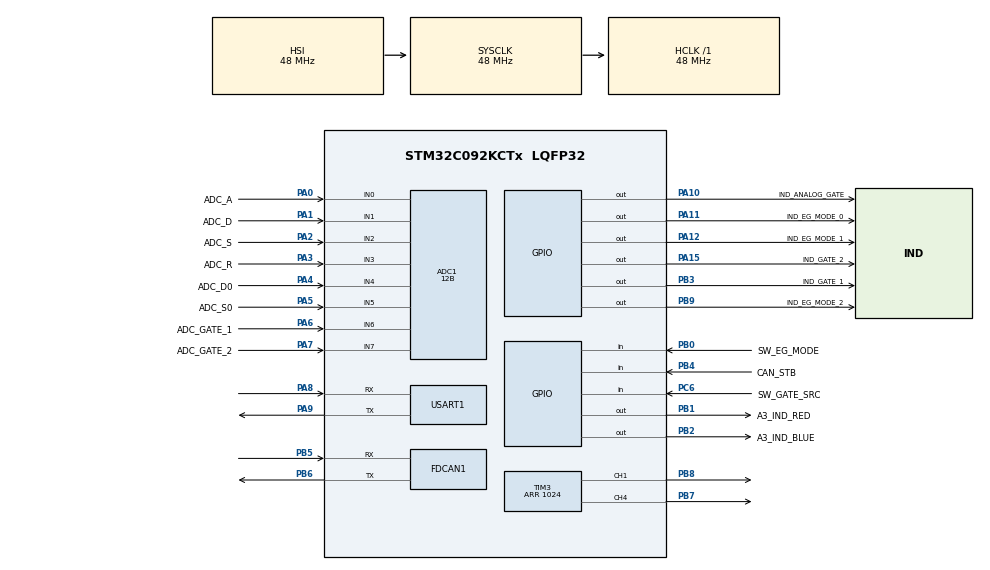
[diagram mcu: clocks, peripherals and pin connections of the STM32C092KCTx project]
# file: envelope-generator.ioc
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ADC1.Channel-0\#ChannelRegularConversion=ADC_CHANNEL_0
ADC1.ClockPrescaler=ADC_CLOCK_ASYNC_DIV32
ADC1.ContinuousConvMode=DISABLE
ADC1.DMAContinuousRequests=ENABLE
ADC1.DataAlign=ADC_DATAALIGN_LEFT
ADC1.ExternalTrigConv=ADC_SOFTWARE_START
ADC1.NbrOfConversionFlag=1
ADC1.Rank-0\#ChannelRegularConversion=1
ADC1.Resolution=ADC_RESOLUTION_12B
ADC1.SamplingTime-0\#ChannelRegularConversion=ADC_SAMPLINGTIME_COMMON_1
ADC1.SamplingTimeCommon1=ADC_SAMPLETIME_160CYCLES_5
ADC1.SamplingTimeCommon2=ADC_SAMPLETIME_160CYCLES_5
ADC1.SelectedChannel=ADC_CHANNEL_0|ADC_CHANNEL_1|ADC_CHANNEL_2|ADC_CHANNEL_3|ADC_CHANNEL_4|ADC_CHANNEL_5|ADC_CHANNEL_6|ADC_CHANNEL_7|ADC_CHANNEL_TEMPSENSOR
ADC1.Sequencer=FULLY_CONFIGURABLE
ADC1.master=1
Dma.ADC1.0.Direction=DMA_PERIPH_TO_MEMORY
Dma.ADC1.0.EventEnable=DISABLE
Dma.ADC1.0.Instance=DMA1_Channel1
Dma.ADC1.0.MemDataAlignment=DMA_MDATAALIGN_HALFWORD
Dma.ADC1.0.MemInc=DMA_MINC_ENABLE
Dma.ADC1.0.Mode=DMA_CIRCULAR
Dma.ADC1.0.PeriphDataAlignment=DMA_PDATAALIGN_HALFWORD
Dma.ADC1.0.PeriphInc=DMA_PINC_DISABLE
Dma.ADC1.0.Polarity=HAL_DMAMUX_REQ_GEN_RISING
Dma.ADC1.0.Priority=DMA_PRIORITY_LOW
Dma.ADC1.0.RequestNumber=1
Dma.ADC1.0.SignalID=NONE
Dma.ADC1.0.SyncEnable=DISABLE
Dma.ADC1.0.SyncPolarity=HAL_DMAMUX_SYNC_NO_EVENT
Dma.ADC1.0.SyncRequestNumber=1
Dma.ADC1.0.SyncSignalID=NONE
Dma.Request0=ADC1
FDCAN1.AutoRetransmission=ENABLE
FDCAN1.CalculateBaudRateNominal=1000000
FDCAN1.CalculateTimeBitNominal=1000
FDCAN1.CalculateTimeQuantumNominal=20.833333333333332
FDCAN1.FrameFormat=FDCAN_FRAME_CLASSIC
FDCAN1.NominalPrescaler=1
FDCAN1.NominalSyncJumpWidth=2
FDCAN1.NominalTimeSeg1=30
FDCAN1.NominalTimeSeg2=17
Mcu.Family=STM32C0
Mcu.Name=STM32C092KCTx
Mcu.Package=LQFP32
NVIC.ADC1_IRQn=true\:0\:0\:false\:false\:true\:true\:true\:true
NVIC.DMA1_Channel1_IRQn=true\:0\:0\:false\:false\:true\:false\:true\:true
NVIC.FDCAN1_IT0_IRQn=true\:0\:0\:false\:false\:true\:true\:true\:true
NVIC.TIM3_IRQn=true\:0\:0\:false\:false\:true\:true\:true\:true
PA0.GPIO_Label=ADC_A
PA0.Mode=IN0
PA0.Signal=ADC1_IN0
PA1.GPIO_Label=ADC_D
PA1.Mode=IN1
PA1.Signal=ADC1_IN1
PA10.GPIO_Label=IND_ANALOG_GATE
PA10.Signal=GPIO_Output
PA11\ [PA9].GPIO_Label=IND_EG_MODE_0
PA11\ [PA9].Signal=GPIO_Output
PA12\ [PA10].GPIO_Label=IND_EG_MODE_1
PA12\ [PA10].Signal=GPIO_Output
PA13.Mode=Serial_Wire
PA13.Signal=DEBUG_SWDIO
PA14-BOOT0.Mode=Serial_Wire
PA14-BOOT0.Signal=DEBUG_SWCLK
PA15.GPIO_Label=IND_GATE_2
PA15.Signal=GPIO_Output
PA2.GPIO_Label=ADC_S
PA2.Mode=IN2
PA2.Signal=ADC1_IN2
PA3.GPIO_Label=ADC_R
PA3.Mode=IN3
PA3.Signal=ADC1_IN3
PA4.GPIO_Label=ADC_D0
PA4.Mode=IN4
PA4.Signal=ADC1_IN4
PA5.GPIO_Label=ADC_S0
PA5.Mode=IN5
PA5.Signal=ADC1_IN5
PA6.GPIO_Label=ADC_GATE_1
PA6.Mode=IN6
PA6.Signal=ADC1_IN6
PA7.GPIO_Label=ADC_GATE_2
PA7.Mode=IN7
PA7.Signal=ADC1_IN7
PA8.Mode=Asynchronous
PA8.Signal=USART1_RX
PA9.Mode=Asynchronous
PA9.Signal=USART1_TX
PB0.GPIO_Label=SW_EG_MODE
PB0.GPIO_PuPd=GPIO_PULLUP
PB0.Signal=GPIO_Input
PB1.GPIO_Label=A3_IND_RED
PB1.Signal=GPIO_Output
PB2.GPIO_Label=A3_IND_BLUE
PB2.Signal=GPIO_Output
PB3.GPIO_Label=IND_GATE_1
PB3.Signal=GPIO_Output
PB4.GPIO_Label=CAN_STB
PB4.Signal=GPIO_Input
PB5.Mode=FDCAN_Activate
PB5.Signal=FDCAN1_RX
PB6.GPIO_FM6=__NULL
PB6.GPIO_Speed=GPIO_SPEED_FREQ_VERY_HIGH
PB6.Mode=FDCAN_Activate
PB6.Signal=FDCAN1_TX
PB7.Signal=S_TIM3_CH4
PB8.Signal=S_TIM3_CH1
PB9.GPIO_Label=IND_EG_MODE_2
PB9.Signal=GPIO_Output
PC14-OSCX_IN(PC14).Mode=HSE-External-Oscillator
PC14-OSCX_IN(PC14).Signal=RCC_OSCX_IN
PC15-OSCX_OUT(PC15).Mode=HSE-External-Oscillator
PC15-OSCX_OUT(PC15).Signal=RCC_OSCX_OUT
PC6.GPIO_Label=SW_GATE_SRC
PC6.GPIO_PuPd=GPIO_PULLUP
PC6.Signal=GPIO_Input
ProjectManager.HeapSize=0x200
ProjectManager.StackSize=0x400
ProjectManager.TargetToolchain=STM32CubeIDE
RCC.ADCFreq_Value=48000000
RCC.AHBFreq_Value=48000000
RCC.CortexFreq_Value=48000000
RCC.EXTERNAL_CLOCK_VALUE=12288000
RCC.HCLKFreq_Value=48000000
RCC.HSE_VALUE=48000000
RCC.HSISYSCLKDivider=RCC_HSI_DIV1
RCC.HSI_VALUE=48000000
RCC.LSE_VALUE=32768
RCC.SYSCLKFreq_VALUE=48000000
SH.S_TIM3_CH1.0=TIM3_CH1,PWM Generation1 CH1
SH.S_TIM3_CH4.0=TIM3_CH4,PWM Generation4 CH4
TIM3.Channel-PWM\ Generation1\ CH1=TIM_CHANNEL_1
TIM3.Channel-PWM\ Generation4\ CH4=TIM_CHANNEL_4
TIM3.Period=1024
USART1.VirtualMode-Asynchronous=VM_ASYNC
VP_ADC1_TempSens_Input.Mode=IN-TempSens
VP_FLASH_SIG_Activate_FlashIP.Mode=Activate_FlashIP
VP_TIM3_VS_ClockSourceINT.Mode=Internal
board=custom

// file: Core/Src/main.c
/* USER CODE BEGIN Header */
/**
  ******************************************************************************
  * @file           : main.c
  * @brief          : Main program body
  ******************************************************************************
  * @attention
  *
  * Copyright (c) 2025 STMicroelectronics.
  * All rights reserved.
  *
  * This software is licensed under terms that can be found in the LICENSE file
  * in the root directory of this software component.
  * If no LICENSE file comes with this software, it is provided AS-IS.
  *
  ******************************************************************************
  */
/* USER CODE END Header */
#include "main.h"

/* USER CODE BEGIN Includes */
#include <string.h>

#include "analog3/stm32impl.h"
#include "analog3/storage.h"
#include "analog3/tasks.h"
#include "envelope_generator.h"
/* USER CODE END Includes */

/* USER CODE BEGIN PD */
#define ADC_INDEX_A  0
#define ADC_INDEX_D  1
#define ADC_INDEX_S  2
#define ADC_INDEX_R  3
#define ADC_INDEX_D0 4
#define ADC_INDEX_S0 5
#define ADC_INDEX_G1 6
#define ADC_INDEX_G2 7
/* USER CODE END PD */

ADC_HandleTypeDef hadc1;
DMA_HandleTypeDef hdma_adc1;

FDCAN_HandleTypeDef hfdcan1;

TIM_HandleTypeDef htim3;

UART_HandleTypeDef huart1;

/* USER CODE BEGIN PV */
switch_state_t gate_src_sw_state;
switch_state_t eg_mode_sw_state;

volatile uint32_t events = 0;
enum Event {
  EVENT_CAN_RX = 0x1,
};

uint16_t adc_value;
uint8_t adc_channel_index = 0;
const uint32_t adc_channels[] = {
  ADC_CHANNEL_0, // PA0, A
  ADC_CHANNEL_1, // PA1, D
  ADC_CHANNEL_2, // PA2, S
  ADC_CHANNEL_3, // PA3, R
  ADC_CHANNEL_4, // PA4, D0
  ADC_CHANNEL_5, // PA5, S0
  ADC_CHANNEL_6, // PA6, Gate 1
  ADC_CHANNEL_7, // PA6, Gate 2
};

uint16_t adc_results[8];  // Stores the 4 channel readings
/* USER CODE END PV */

void SystemClock_Config(void);
static void MX_GPIO_Init(void);
static void MX_DMA_Init(void);
static void MX_ADC1_Init(void);
static void MX_FDCAN1_Init(void);
static void MX_USART1_UART_Init(void);
static void MX_FLASH_Init(void);
static void MX_TIM3_Init(void);

/* USER CODE BEGIN 0 */
void ReceiveCanMessages(FDCAN_HandleTypeDef *hfdcan)
{
  if ((events & EVENT_CAN_RX) == 0) {
    return;
  }
  __disable_irq();
  events &= ~EVENT_CAN_RX;
  __enable_irq();
  FDCAN_RxHeaderTypeDef dummy_header;
  uint8_t dummy_data[8];
  FDCAN_RxHeaderTypeDef *rx_header;
  uint8_t *rx_data;
  while (HAL_FDCAN_GetRxFifoFillLevel(hfdcan, FDCAN_RX_FIFO0) > 0) {
    if (q_full) {
      rx_header = &dummy_header;
      rx_data = dummy_data;
    } else {
      rx_header = &message_queue[q_head].header;
      rx_data = message_queue[q_head].data;
    }
    hfdcan->ErrorCode = HAL_FDCAN_ERROR_NONE;
    if (HAL_FDCAN_GetRxMessage(hfdcan, FDCAN_RX_FIFO0, rx_header, rx_data) != HAL_OK) {
      HandleError("Failed to receive CAN message; error=%lu", hfdcan->ErrorCode);
    } else {
      if (!q_full) {
        q_head = (q_head + 1) % MESSAGE_QUEUE_SIZE;
        q_full = q_head == q_tail;
      }
    }
  }
}

void HandleUserSwitchPressed(const switch_state_t *sw_state) {
  if (!sw_state->prev_status) {
    TogglePhysicalGateInput();
  }
}

void HandleEgModeSwitchPressed(const switch_state_t *sw_state) {
  if (!sw_state->prev_status) {
    SwitchEnvelopeGenerationMode();
  }
}
/* USER CODE END 0 */

int main(void)
{

  /* MCU Configuration--------------------------------------------------------*/

  /* Reset of all peripherals, Initializes the Flash interface and the Systick. */
  HAL_Init();

  /* Configure the system clock */
  SystemClock_Config();

  /* Initialize all configured peripherals */
  MX_GPIO_Init();
  MX_DMA_Init();
  MX_ADC1_Init();
  MX_FDCAN1_Init();
  MX_USART1_UART_Init();
  MX_FLASH_Init();
  MX_TIM3_Init();
  /* USER CODE BEGIN 2 */
  InitializeStorage();
  InitializeSwitchState(&gate_src_sw_state, SW_GATE_SRC_GPIO_Port, SW_GATE_SRC_Pin,
                        HandleUserSwitchPressed);
  InitializeSwitchState(&eg_mode_sw_state, SW_EG_MODE_GPIO_Port, SW_EG_MODE_Pin,
                        HandleEgModeSwitchPressed);
  HAL_ADCEx_Calibration_Start(&hadc1);

  __HAL_TIM_SET_COMPARE(&htim3, TIM_CHANNEL_1, 0);
  __HAL_TIM_SET_COMPARE(&htim3, TIM_CHANNEL_4, 0);
  HAL_TIM_PWM_Start(&htim3, TIM_CHANNEL_1);
  HAL_TIM_PWM_Start(&htim3, TIM_CHANNEL_4);

  InitializeAnalog3();
  InitializeEnvelopeGenerator();

  HAL_Delay(10);
  put_string("\r\nAnalog3 Envelope Generator\r\n");

  HAL_TIM_Base_Start_IT(&htim3);

  HAL_Delay(20);

  // The module is ready to run. Signing into the A3 network.
  SignIn();
  /* USER CODE END 2 */

  /* Infinite loop */
  while (1)
  {

    /* USER CODE BEGIN 3 */
    UpdateEnvelopeGenerator();
    ReceiveCanMessages(&hfdcan1);
    if (q_head != q_tail || q_full) {
      stm32_can_message_t *message = &message_queue[q_tail];
      HandleCanRxMessage(message);
      __disable_irq();
      q_tail = (q_tail + 1) % MESSAGE_QUEUE_SIZE;
      q_full = 0;
      __enable_irq();
    }
    CheckForTask();
    CheckSwitch(&gate_src_sw_state);
    CheckSwitch(&eg_mode_sw_state);
  }
  /* USER CODE END 3 */
}

void SystemClock_Config(void)
{
  RCC_OscInitTypeDef RCC_OscInitStruct = {0};
  RCC_ClkInitTypeDef RCC_ClkInitStruct = {0};

  __HAL_FLASH_SET_LATENCY(FLASH_LATENCY_1);

  /** Initializes the RCC Oscillators according to the specified parameters
  * in the RCC_OscInitTypeDef structure.
  */
  RCC_OscInitStruct.OscillatorType = RCC_OSCILLATORTYPE_HSI;
  RCC_OscInitStruct.HSIState = RCC_HSI_ON;
  RCC_OscInitStruct.HSIDiv = RCC_HSI_DIV1;
  RCC_OscInitStruct.HSICalibrationValue = RCC_HSICALIBRATION_DEFAULT;
  if (HAL_RCC_OscConfig(&RCC_OscInitStruct) != HAL_OK)
  {
    Error_Handler();
  }

  /** Initializes the CPU, AHB and APB buses clocks
  */
  RCC_ClkInitStruct.ClockType = RCC_CLOCKTYPE_HCLK|RCC_CLOCKTYPE_SYSCLK
                              |RCC_CLOCKTYPE_PCLK1;
  RCC_ClkInitStruct.SYSCLKSource = RCC_SYSCLKSOURCE_HSI;
  RCC_ClkInitStruct.SYSCLKDivider = RCC_SYSCLK_DIV1;
  RCC_ClkInitStruct.AHBCLKDivider = RCC_HCLK_DIV1;
  RCC_ClkInitStruct.APB1CLKDivider = RCC_APB1_DIV1;

  if (HAL_RCC_ClockConfig(&RCC_ClkInitStruct, FLASH_LATENCY_1) != HAL_OK)
  {
    Error_Handler();
  }
}

static void MX_ADC1_Init(void)
{

  ADC_ChannelConfTypeDef sConfig = {0};

  /** Configure the global features of the ADC (Clock, Resolution, Data Alignment and number of conversion)
  */
  hadc1.Instance = ADC1;
  hadc1.Init.ClockPrescaler = ADC_CLOCK_ASYNC_DIV32;
  hadc1.Init.Resolution = ADC_RESOLUTION_12B;
  hadc1.Init.DataAlign = ADC_DATAALIGN_LEFT;
  hadc1.Init.ScanConvMode = ADC_SCAN_DISABLE;
  hadc1.Init.EOCSelection = ADC_EOC_SINGLE_CONV;
  hadc1.Init.LowPowerAutoWait = DISABLE;
  hadc1.Init.LowPowerAutoPowerOff = DISABLE;
  hadc1.Init.ContinuousConvMode = DISABLE;
  hadc1.Init.NbrOfConversion = 1;
  hadc1.Init.DiscontinuousConvMode = DISABLE;
  hadc1.Init.ExternalTrigConv = ADC_SOFTWARE_START;
  hadc1.Init.ExternalTrigConvEdge = ADC_EXTERNALTRIGCONVEDGE_NONE;
  hadc1.Init.DMAContinuousRequests = ENABLE;
  hadc1.Init.Overrun = ADC_OVR_DATA_PRESERVED;
  hadc1.Init.SamplingTimeCommon1 = ADC_SAMPLETIME_160CYCLES_5;
  hadc1.Init.SamplingTimeCommon2 = ADC_SAMPLETIME_160CYCLES_5;
  hadc1.Init.OversamplingMode = DISABLE;
  hadc1.Init.TriggerFrequencyMode = ADC_TRIGGER_FREQ_HIGH;
  if (HAL_ADC_Init(&hadc1) != HAL_OK)
  {
    Error_Handler();
  }

  /** Configure Regular Channel
  */
  sConfig.Channel = ADC_CHANNEL_0;
  sConfig.Rank = ADC_REGULAR_RANK_1;
  sConfig.SamplingTime = ADC_SAMPLINGTIME_COMMON_1;
  if (HAL_ADC_ConfigChannel(&hadc1, &sConfig) != HAL_OK)
  {
    Error_Handler();
  }

}

static void MX_FDCAN1_Init(void)
{

  hfdcan1.Instance = FDCAN1;
  hfdcan1.Init.ClockDivider = FDCAN_CLOCK_DIV1;
  hfdcan1.Init.FrameFormat = FDCAN_FRAME_CLASSIC;
  hfdcan1.Init.Mode = FDCAN_MODE_NORMAL;
  hfdcan1.Init.AutoRetransmission = ENABLE;
  hfdcan1.Init.TransmitPause = DISABLE;
  hfdcan1.Init.ProtocolException = DISABLE;
  hfdcan1.Init.NominalPrescaler = 1;
  hfdcan1.Init.NominalSyncJumpWidth = 2;
  hfdcan1.Init.NominalTimeSeg1 = 30;
  hfdcan1.Init.NominalTimeSeg2 = 17;
  hfdcan1.Init.DataPrescaler = 1;
  hfdcan1.Init.DataSyncJumpWidth = 1;
  hfdcan1.Init.DataTimeSeg1 = 1;
  hfdcan1.Init.DataTimeSeg2 = 1;
  hfdcan1.Init.StdFiltersNbr = 0;
  hfdcan1.Init.ExtFiltersNbr = 0;
  hfdcan1.Init.TxFifoQueueMode = FDCAN_TX_FIFO_OPERATION;
  if (HAL_FDCAN_Init(&hfdcan1) != HAL_OK)
  {
    Error_Handler();
  }
  /* USER CODE BEGIN FDCAN1_Init 2 */
  if (HAL_FDCAN_ConfigGlobalFilter(
        &hfdcan1, FDCAN_ACCEPT_IN_RX_FIFO0, FDCAN_ACCEPT_IN_RX_FIFO0,
        FDCAN_FILTER_REMOTE, FDCAN_FILTER_REMOTE) != HAL_OK) {
    Error_Handler();
  }

  // Start FDCAN
  if (HAL_FDCAN_Start(&hfdcan1) != HAL_OK) {
    Error_Handler();
  }

  // Activate reception notification
  HAL_FDCAN_ActivateNotification(&hfdcan1, FDCAN_IT_RX_FIFO0_NEW_MESSAGE, 0);

  // Enable the transceiver
  HAL_GPIO_WritePin(CAN_STB_GPIO_Port, CAN_STB_Pin, GPIO_PIN_RESET);
  // CAN_STB pin is input initially, switch it to output
  CAN_STB_GPIO_Port->MODER &= ~((CAN_STB_Pin * CAN_STB_Pin) << 1);
  CAN_STB_GPIO_Port->MODER |= CAN_STB_Pin * CAN_STB_Pin;
  /* USER CODE END FDCAN1_Init 2 */

}

static void MX_FLASH_Init(void)
{

  if (HAL_FLASH_Unlock() != HAL_OK)
  {
    Error_Handler();
  }
  if (HAL_FLASH_Lock() != HAL_OK)
  {
    Error_Handler();
  }

}

static void MX_TIM3_Init(void)
{

  TIM_ClockConfigTypeDef sClockSourceConfig = {0};
  TIM_MasterConfigTypeDef sMasterConfig = {0};
  TIM_OC_InitTypeDef sConfigOC = {0};

  htim3.Instance = TIM3;
  htim3.Init.Prescaler = 0;
  htim3.Init.CounterMode = TIM_COUNTERMODE_UP;
  htim3.Init.Period = 1024;
  htim3.Init.ClockDivision = TIM_CLOCKDIVISION_DIV1;
  htim3.Init.AutoReloadPreload = TIM_AUTORELOAD_PRELOAD_DISABLE;
  if (HAL_TIM_Base_Init(&htim3) != HAL_OK)
  {
    Error_Handler();
  }
  sClockSourceConfig.ClockSource = TIM_CLOCKSOURCE_INTERNAL;
  if (HAL_TIM_ConfigClockSource(&htim3, &sClockSourceConfig) != HAL_OK)
  {
    Error_Handler();
  }
  if (HAL_TIM_PWM_Init(&htim3) != HAL_OK)
  {
    Error_Handler();
  }
  sMasterConfig.MasterOutputTrigger = TIM_TRGO_RESET;
  sMasterConfig.MasterSlaveMode = TIM_MASTERSLAVEMODE_DISABLE;
  if (HAL_TIMEx_MasterConfigSynchronization(&htim3, &sMasterConfig) != HAL_OK)
  {
    Error_Handler();
  }
  sConfigOC.OCMode = TIM_OCMODE_PWM1;
  sConfigOC.Pulse = 0;
  sConfigOC.OCPolarity = TIM_OCPOLARITY_HIGH;
  sConfigOC.OCFastMode = TIM_OCFAST_DISABLE;
  if (HAL_TIM_PWM_ConfigChannel(&htim3, &sConfigOC, TIM_CHANNEL_1) != HAL_OK)
  {
    Error_Handler();
  }
  if (HAL_TIM_PWM_ConfigChannel(&htim3, &sConfigOC, TIM_CHANNEL_4) != HAL_OK)
  {
    Error_Handler();
  }
  HAL_TIM_MspPostInit(&htim3);

}

static void MX_USART1_UART_Init(void)
{

  huart1.Instance = USART1;
  huart1.Init.BaudRate = 115200;
  huart1.Init.WordLength = UART_WORDLENGTH_8B;
  huart1.Init.StopBits = UART_STOPBITS_1;
  huart1.Init.Parity = UART_PARITY_NONE;
  huart1.Init.Mode = UART_MODE_TX_RX;
  huart1.Init.HwFlowCtl = UART_HWCONTROL_NONE;
  huart1.Init.OverSampling = UART_OVERSAMPLING_16;
  huart1.Init.OneBitSampling = UART_ONE_BIT_SAMPLE_DISABLE;
  huart1.Init.ClockPrescaler = UART_PRESCALER_DIV1;
  huart1.AdvancedInit.AdvFeatureInit = UART_ADVFEATURE_NO_INIT;
  if (HAL_UART_Init(&huart1) != HAL_OK)
  {
    Error_Handler();
  }
  if (HAL_UARTEx_SetTxFifoThreshold(&huart1, UART_TXFIFO_THRESHOLD_1_8) != HAL_OK)
  {
    Error_Handler();
  }
  if (HAL_UARTEx_SetRxFifoThreshold(&huart1, UART_RXFIFO_THRESHOLD_1_8) != HAL_OK)
  {
    Error_Handler();
  }
  if (HAL_UARTEx_DisableFifoMode(&huart1) != HAL_OK)
  {
    Error_Handler();
  }

}

static void MX_DMA_Init(void)
{

  /* DMA controller clock enable */
  __HAL_RCC_DMA1_CLK_ENABLE();

  /* DMA interrupt init */
  /* DMA1_Channel1_IRQn interrupt configuration */
  HAL_NVIC_SetPriority(DMA1_Channel1_IRQn, 0, 0);
  HAL_NVIC_EnableIRQ(DMA1_Channel1_IRQn);

}

static void MX_GPIO_Init(void)
{
  GPIO_InitTypeDef GPIO_InitStruct = {0};

  /* GPIO Ports Clock Enable */
  __HAL_RCC_GPIOB_CLK_ENABLE();
  __HAL_RCC_GPIOC_CLK_ENABLE();
  __HAL_RCC_GPIOA_CLK_ENABLE();

  /*Configure GPIO pin Output Level */
  HAL_GPIO_WritePin(GPIOB, IND_EG_MODE_2_Pin|A3_IND_RED_Pin|A3_IND_BLUE_Pin|IND_GATE_1_Pin, GPIO_PIN_RESET);

  /*Configure GPIO pin Output Level */
  HAL_GPIO_WritePin(GPIOA, IND_ANALOG_GATE_Pin|IND_EG_MODE_0_Pin|IND_EG_MODE_1_Pin|IND_GATE_2_Pin, GPIO_PIN_RESET);

  /*Configure GPIO pins : IND_EG_MODE_2_Pin A3_IND_RED_Pin A3_IND_BLUE_Pin IND_GATE_1_Pin */
  GPIO_InitStruct.Pin = IND_EG_MODE_2_Pin|A3_IND_RED_Pin|A3_IND_BLUE_Pin|IND_GATE_1_Pin;
  GPIO_InitStruct.Mode = GPIO_MODE_OUTPUT_PP;
  GPIO_InitStruct.Pull = GPIO_NOPULL;
  GPIO_InitStruct.Speed = GPIO_SPEED_FREQ_LOW;
  HAL_GPIO_Init(GPIOB, &GPIO_InitStruct);

  /*Configure GPIO pin : SW_EG_MODE_Pin */
  GPIO_InitStruct.Pin = SW_EG_MODE_Pin;
  GPIO_InitStruct.Mode = GPIO_MODE_INPUT;
  GPIO_InitStruct.Pull = GPIO_PULLUP;
  HAL_GPIO_Init(SW_EG_MODE_GPIO_Port, &GPIO_InitStruct);

  /*Configure GPIO pin : SW_GATE_SRC_Pin */
  GPIO_InitStruct.Pin = SW_GATE_SRC_Pin;
  GPIO_InitStruct.Mode = GPIO_MODE_INPUT;
  GPIO_InitStruct.Pull = GPIO_PULLUP;
  HAL_GPIO_Init(SW_GATE_SRC_GPIO_Port, &GPIO_InitStruct);

  /*Configure GPIO pins : IND_ANALOG_GATE_Pin IND_EG_MODE_0_Pin IND_EG_MODE_1_Pin IND_GATE_2_Pin */
  GPIO_InitStruct.Pin = IND_ANALOG_GATE_Pin|IND_EG_MODE_0_Pin|IND_EG_MODE_1_Pin|IND_GATE_2_Pin;
  GPIO_InitStruct.Mode = GPIO_MODE_OUTPUT_PP;
  GPIO_InitStruct.Pull = GPIO_NOPULL;
  GPIO_InitStruct.Speed = GPIO_SPEED_FREQ_LOW;
  HAL_GPIO_Init(GPIOA, &GPIO_InitStruct);

  /*Configure GPIO pin : CAN_STB_Pin */
  GPIO_InitStruct.Pin = CAN_STB_Pin;
  GPIO_InitStruct.Mode = GPIO_MODE_INPUT;
  GPIO_InitStruct.Pull = GPIO_NOPULL;
  HAL_GPIO_Init(CAN_STB_GPIO_Port, &GPIO_InitStruct);

}

/* USER CODE BEGIN 4 */
void HAL_FDCAN_RxFifo0Callback(FDCAN_HandleTypeDef *hfdcan, uint32_t RxFifo0ITs)
{
  if ((RxFifo0ITs & FDCAN_IT_RX_FIFO0_NEW_MESSAGE) != 0) {
    events |= EVENT_CAN_RX;
  }
}

static uint32_t cycles = 0;
void HAL_TIM_PeriodElapsedCallback(TIM_HandleTypeDef *htim)
{
  ++cycles;
  NudgeEnvelopeGenerator();
  if (cycles % ADC_UPDATE_CYCLES == 0) {
    HAL_ADC_Start_DMA(&hadc1, (uint32_t*)&adc_value, 1);
  }
}

void HAL_ADC_ConvCpltCallback(ADC_HandleTypeDef* hadc)
{
  if (hadc->Instance == ADC1)
  {
    // Save result
    adc_results[adc_channel_index] = adc_value;

    switch (adc_channel_index) {
    case ADC_INDEX_A:
      SubmitTask(SetAttackTime, &adc_results[adc_channel_index]);
      break;
    case ADC_INDEX_D:
      SubmitTask(SetDecayTime, &adc_results[adc_channel_index]);
      break;
    case ADC_INDEX_S:
      SubmitTask(SetSustainLevel, &adc_results[adc_channel_index]);
      break;
    case ADC_INDEX_R:
      SubmitTask(SetReleaseTime, &adc_results[adc_channel_index]);
      break;
    case ADC_INDEX_D0:
      SubmitTask(SetDecay0Time, &adc_results[adc_channel_index]);
      break;
    case ADC_INDEX_S0:
      SubmitTask(SetSustain0Level, &adc_results[adc_channel_index]);
      break;
    case ADC_INDEX_G1:
      SubmitTask(CheckGate1, &adc_results[adc_channel_index]);
      break;
    case ADC_INDEX_G2:
      SubmitTask(CheckGate2, &adc_results[adc_channel_index]);
      break;
    }

    // Update channel index
    adc_channel_index = (adc_channel_index + 1) % 8;

    // Reconfigure ADC to next channel
    adc_change_channel(adc_channels[adc_channel_index]);
  }
}
/* USER CODE END 4 */

void Error_Handler(void)
{
  /* USER CODE BEGIN Error_Handler_Debug */
  /* User can add his own implementation to report the HAL error return state */
  __disable_irq();
  put_string("An error encountered!!\r\n");
#ifdef DEBUG
  put_string(error_message);
#endif
  while (1)
  {
  }
  /* USER CODE END Error_Handler_Debug */
}
